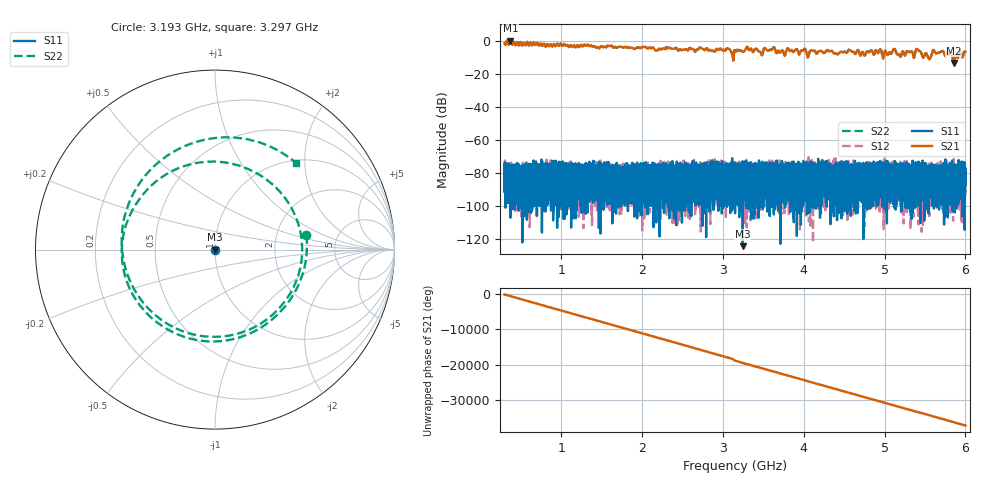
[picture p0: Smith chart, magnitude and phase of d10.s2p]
!Agilent Technologies,N5230C,SG49000117,A.08.50.07
!Agilent N5230C: A.08.50.07
!Date: Sunday, March 17, 2024 02:52:34
!Correction: S11(Off)
!S21(Off)
!S12(Off)
!S22(Off)
!S2P File: Measurements: S11, S21, S12, S22:
# Hz S  RI  R 50
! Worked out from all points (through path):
!   20001 points, 300 MHz to 6 GHz, reference 50 ohm
!   highest |S21| = 0.28 dB at 372.1 MHz (marker M1); lowest = -13.4 dB at 5.855 GHz (marker M2)
!   lowest |S11| = -124.4 dB at 3.246 GHz (marker M3), VSWR 1.00, Z = 50 + j9.54e-06 ohm
!   |S11| at or under -10 dB: start of sweep to end of sweep
!   |S22| runs from -13.4 to 0.3 dB; largest |S21 - S12| = 1
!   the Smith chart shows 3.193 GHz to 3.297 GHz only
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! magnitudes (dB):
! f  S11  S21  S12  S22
! 300 MHz  -83.1  -1.3  -81.8  -1.3
! 372.1 MHz  -79.4  0.3  -79.1  0.3
! 1.25 GHz  -78.6  -2.5  -93.0  -2.5
! 2.2 GHz  -84.7  -5.2  -84.3  -5.2
! 3.064 GHz  -83.5  -4.7  -81.9  -4.7
! 3.15 GHz  -89.9  -5.6  -77.1  -5.6
! 3.246 GHz  -124.4  -6.4  -83.3  -6.3
! 3.62 GHz  -78.9  -4.4  -81.6  -4.3
! 3.757 GHz  -76.1  -8.0  -100.2  -7.9
! 4 GHz  -93.3  -5.4  -85.7  -5.3
! 4.055 GHz  -77.6  -9.8  -84.0  -9.7
! 4.1 GHz  -88.9  -5.7  -86.7  -5.6
! 5.05 GHz  -84.6  -7.5  -77.5  -7.5
! 5.117 GHz  -78.3  -4.8  -94.2  -4.8
! 5.179 GHz  -82.4  -8.3  -83.5  -8.3
! 5.354 GHz  -82.8  -8.6  -84.8  -8.6
! 5.411 GHz  -87.1  -5.2  -81.0  -5.2
! 5.554 GHz  -94.4  -11.1  -78.5  -11.2
! 5.606 GHz  -84.0  -5.4  -82.4  -5.5
! 5.706 GHz  -78.0  -6.2  -78.5  -6.2
! 5.855 GHz  -82.1  -13.4  -91.3  -13.4
! 6 GHz  -77.7  -6.6  -89.3  -6.6
